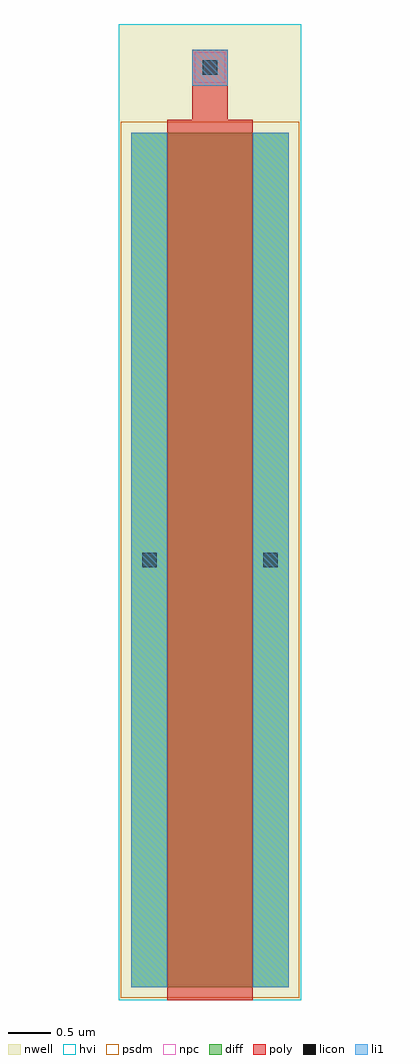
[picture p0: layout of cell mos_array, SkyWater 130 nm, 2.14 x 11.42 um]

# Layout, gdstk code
import gdstk
lib = gdstk.Library(unit=1e-6, precision=1e-09)
def R(c, l, rs):  # rectangles x0, y0, x1, y1
    for r in rs: c.add(gdstk.rectangle(r[:2], r[2:], *l))
nwell = (64, 20)
diff = (65, 20)
poly = (66, 20)
licon = (66, 44)
li1 = (67, 20)
hvi = (75, 20)
psdm = (94, 20)
npc = (95, 20)

mos_array = lib.new_cell('mos_array')
R(mos_array, nwell, [(-0.15,-0.15,1.99,11.27)])
R(mos_array, diff, [(0,0,1.84,10)])
R(mos_array, poly, [(0.42,-0.15,1.42,10), (0.42,10,1.42,10.15), (0.42,10,1.42,10.15), (0.71,10.15,1.13,10.97)])
R(mos_array, licon, [(0.125,4.915,0.295,5.085), (1.545,4.915,1.715,5.085), (0.835,10.675,1.005,10.845)])
R(mos_array, li1, [(0,0,0.42,10), (1.42,0,1.84,10), (0.71,10.55,1.13,10.97)])
R(mos_array, hvi, [(-0.15,-0.15,1.99,11.27)])
R(mos_array, psdm, [(-0.125,-0.125,1.965,10.125)])
R(mos_array, npc, [(0.74,10.58,1.1,10.94)])

lib.write_gds('mos_array.gds')
